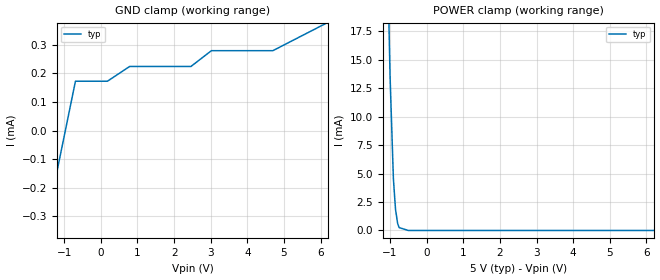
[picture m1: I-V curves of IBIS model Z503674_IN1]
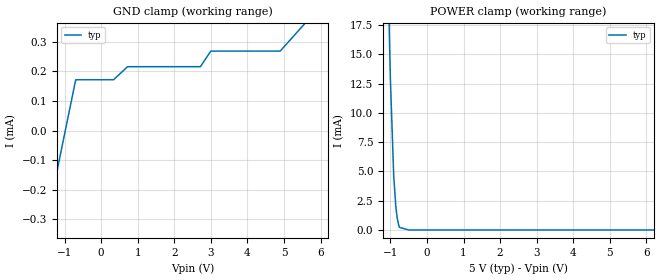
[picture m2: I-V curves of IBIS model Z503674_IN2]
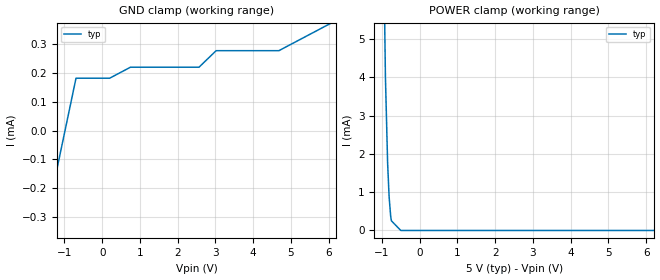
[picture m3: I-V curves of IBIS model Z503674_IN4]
| YOU ARE ONLY AUTHORIZED TO USE THIS SOFTWARE
| ACCORDING TO LICENSOR'S LICENSE RESTRICTIONS.
[IBIS Ver] 3.1
[File Name] mc14558bl.ibs
[File Rev] 2.0
[Source] Measured and created by ICX Technology
[Date] Friday 7/14/00 9:07:57 AM
[Copyright]
| (C) COPYRIGHT 1993-2000
| MENTOR GRAPHICS CORPORATION
| ICX STANDARD LIBRARY, ICX PROJECT MODELING,
| ICX CUSTOM MODELING, ICX VENDOR MODEL
| ALL RIGHTS RESERVED.
| THE FOLLOWING ARE TRADEMARKS OR SERVICE MARKS OF
| MENTOR GRAPHICS CORPORATION:ICX (R), ICX STANDARD
| LIBRARY(R), ICX PROJECT MODELING(R), ICX CUSTOM
| MODELING(R), qualityIBIS(TM), MODELVIEWER(TM),
| AND MODELEDITOR(TM)
| ALL COPIES OF SOFTWARE, INCLUDING BUT NOT LIMITED TO
| ANY MODIFICATIONS, ENHANCEMENTS OR DERIVATIVE WORKS,
| MUST CONTAIN ALL MENTOR GRAPHICS CORPORATION'S
| NOTICES AND LEGENDS, INCLUDING THOSE EMBEDDED IN
| SOFTWARE AND THOSE AFFIXED TO SOFTWARE MEDIUM
| AND CONTAINER, AS RECEIVED FROM MENTOR GRAPHICS
| CORPORATION.
|  ZAP Model Builder 2.7
[Component] MC14558BL
[Manufacturer] OnSemiconductor
[Package]
| variable   typ   min   max
R_pkg  .212ohms NA NA
L_pkg  4.758nH NA NA
C_pkg  1.944pF NA NA
[Pin] signal_name  model_name  R_pin  L_pin C_pin
1 B Z503674_IN1 .224 7.258n 2.683p
2 C Z503674_IN1 .216 5.258n 2.19p
3 ENB Z503674_IN2 .208 3.758n 1.697p
4 _RBO Z503674_OUT3 .2 2.758n 1.204p
5 _RBI Z503674_IN4 .2 2.758n 1.204p
6 D Z503674_IN1 .208 3.758n 1.697p
7 A Z503674_IN1 .216 5.258n 2.19p
8 VSS POWER .224 7.258n 2.683p
9 e Z503674_OUT5 .224 7.258n 2.683p
10 d Z503674_OUT5 .216 5.258n 2.19p
11 c Z503674_OUT5 .208 3.758n 1.697p
12 b Z503674_OUT5 .2 2.758n 1.204p
13 a Z503674_OUT5 .2 2.758n 1.204p
14 g Z503674_OUT5 .208 3.758n 1.697p
15 f Z503674_OUT5 .216 5.258n 2.19p
16 VDD POWER .224 7.258n 2.683p
| Models and submodels in the file (5): Z503674_IN1 (Input), Z503674_IN2 (Input), Z503674_IN4 (Input), Z503674_OUT3 (Output), Z503674_OUT5 (Output)
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| (C) COPYRIGHT 1993-2000
| MENTOR GRAPHICS CORPORATION
| ICX STANDARD LIBRARY, ICX PROJECT MODELING,
| ICX CUSTOM MODELING, ICX VENDOR MODEL
| ALL RIGHTS RESERVED.
| THE FOLLOWING ARE TRADEMARKS OR SERVICE MARKS OF
| MENTOR GRAPHICS CORPORATION:ICX (R), ICX STANDARD
| LIBRARY(R), ICX PROJECT MODELING(R), ICX CUSTOM
| MODELING(R), qualityIBIS(TM), MODELVIEWER(TM),
| AND MODELEDITOR(TM)
| ALL COPIES OF SOFTWARE, INCLUDING BUT NOT LIMITED TO
| ANY MODIFICATIONS, ENHANCEMENTS OR DERIVATIVE WORKS,
| MUST CONTAIN ALL MENTOR GRAPHICS CORPORATION'S
| NOTICES AND LEGENDS, INCLUDING THOSE EMBEDDED IN
| SOFTWARE AND THOSE AFFIXED TO SOFTWARE MEDIUM
| AND CONTAINER, AS RECEIVED FROM MENTOR GRAPHICS
| CORPORATION.
| Model Application Version 1.89 2/18/99.
[Model] Z503674_IN1
Model_type Input
Vinl = 1.500V
Vinh = 3.500V
C_comp 4.000pF NA NA
| variable typ   min   max
[Voltage Range] 5.000V NA NA
[GND Clamp Reference] 0.000V NA NA
[POWER Clamp Reference] 5.000V NA NA
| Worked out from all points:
|   POWER clamp passes 1 mA (typ) near -0.81 V on its own axis
[GND Clamp]
-5V       -2.527mA   NA         NA
-694mV    172.5uA    NA         NA
178.2mV   172.5uA    NA         NA
786.2mV   224.2uA    NA         NA
2.46V     224.2uA    NA         NA
3.018V    279.4uA    NA         NA
4.695V    279.4uA    NA         NA
10V       628.6uA    NA         NA
[POWER Clamp]
-5V       1.048A     NA         NA
-1.167V   43.76mA    NA         NA
-1.05V    21.11mA    NA         NA
-999mV    13.5mA     NA         NA
-908mV    4.513mA    NA         NA
-850mV    1.846mA    NA         NA
-792mV    603.1uA    NA         NA
-752mV    253.4uA    NA         NA
-501.3mV  0A         NA         NA
10V       0A         NA         NA
| (C) COPYRIGHT 1993-2000
| MENTOR GRAPHICS CORPORATION
| ICX STANDARD LIBRARY, ICX PROJECT MODELING,
| ICX CUSTOM MODELING, ICX VENDOR MODEL
| ALL RIGHTS RESERVED.
| THE FOLLOWING ARE TRADEMARKS OR SERVICE MARKS OF
| MENTOR GRAPHICS CORPORATION:ICX (R), ICX STANDARD
| LIBRARY(R), ICX PROJECT MODELING(R), ICX CUSTOM
| MODELING(R), qualityIBIS(TM), MODELVIEWER(TM),
| AND MODELEDITOR(TM)
| ALL COPIES OF SOFTWARE, INCLUDING BUT NOT LIMITED TO
| ANY MODIFICATIONS, ENHANCEMENTS OR DERIVATIVE WORKS,
| MUST CONTAIN ALL MENTOR GRAPHICS CORPORATION'S
| NOTICES AND LEGENDS, INCLUDING THOSE EMBEDDED IN
| SOFTWARE AND THOSE AFFIXED TO SOFTWARE MEDIUM
| AND CONTAINER, AS RECEIVED FROM MENTOR GRAPHICS
| CORPORATION.
| Model Application Version 1.89 2/18/99.
[Model] Z503674_IN2
Model_type Input
Vinl = 1.500V
Vinh = 3.500V
C_comp 4.000pF NA NA
| variable typ   min   max
[Voltage Range] 5.000V NA NA
[GND Clamp Reference] 0.000V NA NA
[POWER Clamp Reference] 5.000V NA NA
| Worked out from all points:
|   POWER clamp passes 1 mA (typ) near -0.81 V on its own axis
[GND Clamp]
-5V       -2.428mA   NA         NA
-694mV    171.7uA    NA         NA
338.8mV   171.7uA    NA         NA
723.1mV   216uA      NA         NA
2.714V    216uA      NA         NA
2.998V    268.8uA    NA         NA
4.894V    268.8uA    NA         NA
10V       973.1uA    NA         NA
[POWER Clamp]
-5V       941.7mA    NA         NA
-1.169V   41.34mA    NA         NA
-1.035V   17.85mA    NA         NA
-1V       13.07mA    NA         NA
-908mV    4.654mA    NA         NA
-850mV    1.997mA    NA         NA
-811mV    1.001mA    NA         NA
-770mV    394.9uA    NA         NA
-751mV    225.5uA    NA         NA
-500.7mV  0A         NA         NA
10V       0A         NA         NA
| (C) COPYRIGHT 1993-2000
| MENTOR GRAPHICS CORPORATION
| ICX STANDARD LIBRARY, ICX PROJECT MODELING,
| ICX CUSTOM MODELING, ICX VENDOR MODEL
| ALL RIGHTS RESERVED.
| THE FOLLOWING ARE TRADEMARKS OR SERVICE MARKS OF
| MENTOR GRAPHICS CORPORATION:ICX (R), ICX STANDARD
| LIBRARY(R), ICX PROJECT MODELING(R), ICX CUSTOM
| MODELING(R), qualityIBIS(TM), MODELVIEWER(TM),
| AND MODELEDITOR(TM)
| ALL COPIES OF SOFTWARE, INCLUDING BUT NOT LIMITED TO
| ANY MODIFICATIONS, ENHANCEMENTS OR DERIVATIVE WORKS,
| MUST CONTAIN ALL MENTOR GRAPHICS CORPORATION'S
| NOTICES AND LEGENDS, INCLUDING THOSE EMBEDDED IN
| SOFTWARE AND THOSE AFFIXED TO SOFTWARE MEDIUM
| AND CONTAINER, AS RECEIVED FROM MENTOR GRAPHICS
| CORPORATION.
| Model Application Version 1.89 2/18/99.
[Model] Z503674_IN4
Model_type Input
Vinl = 1.500V
Vinh = 3.500V
C_comp 4.000pF NA NA
| variable typ   min   max
[Voltage Range] 5.000V NA NA
[GND Clamp Reference] 0.000V NA NA
[POWER Clamp Reference] 5.000V NA NA
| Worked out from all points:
|   POWER clamp passes 1 mA (typ) near -0.82 V on its own axis
[GND Clamp]
-5V       -2.5mA     NA         NA
-694mV    181uA      NA         NA
198mV     181uA      NA         NA
747.6mV   219uA      NA         NA
2.564V    219uA      NA         NA
3.018V    276.2uA    NA         NA
4.68V     276.2uA    NA         NA
10V       643uA      NA         NA
[POWER Clamp]
-5V       524.8mA    NA         NA
-1.2V     31.21mA    NA         NA
-1.02V    12.06mA    NA         NA
-908mV    4.018mA    NA         NA
-850mV    1.765mA    NA         NA
-811mV    890.8uA    NA         NA
-770mV    382.9uA    NA         NA
-751mV    253.9uA    NA         NA
-500.7mV  0A         NA         NA
10V       0A         NA         NA
